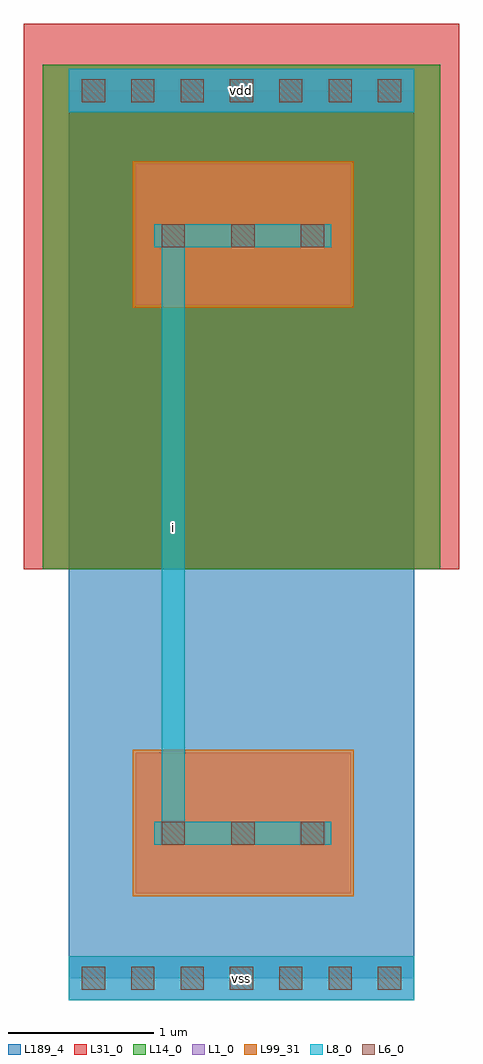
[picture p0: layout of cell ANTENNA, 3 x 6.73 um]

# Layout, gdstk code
import gdstk
lib = gdstk.Library(unit=1e-6, precision=1e-09)
def R(c, l, rs):  # rectangles x0, y0, x1, y1
    for r in rs: c.add(gdstk.rectangle(r[:2], r[2:], *l))
def A(c, l, x, y, w, h, nx, ny, dx, dy):  # array of equal rectangles
    R(c, l, [(x+i*dx, y+j*dy, x+i*dx+w, y+j*dy+h) for i in range(nx) for j in range(ny)])
L1_0 = (1, 0)
L6_0 = (6, 0)
L8_0 = (8, 0)
L14_0 = (14, 0)
L31_0 = (31, 0)
L63_0 = (63, 0)
L99_31 = (99, 31)
L189_4 = (189, 4)

antenna = lib.new_cell('ANTENNA')
R(antenna, L1_0, [(0,-0.15,2.38,0.15), (0.46,0.585,1.945,1.555), (0.46,4.645,1.945,5.615), (0,5.97,2.38,6.27)])
A(antenna, L6_0, 0.09, -0.08, 0.16, 0.16, 7, 2, 0.34, 6.12)
A(antenna, L6_0, 0.64, 0.92, 0.16, 0.16, 3, 2, 0.48, 4.12)
A(antenna, L8_0, 0.59, 0.92, 0.26, 0.16, 3, 2, 0.48, 4.12)
R(antenna, L8_0, [(0,-0.15,2.38,0.15), (0.64,0.92,1.76,1.08), (0.64,1.08,0.8,5.04), (0.64,5.04,1.76,5.2), (0,5.97,2.38,6.27)])
R(antenna, L14_0, [(-0.18,2.82,0.18,5.94), (0.18,2.82,2.2,5.94), (2.2,2.82,2.56,5.94), (-0.18,5.94,2.56,6.3)])
R(antenna, L31_0, [(-0.31,2.82,2.69,6.58)])
R(antenna, L99_31, [(0.44,0.565,1.965,1.575), (0.44,4.625,1.965,5.635)])
R(antenna, L189_4, [(0,0,2.38,6.12)])
antenna.add(gdstk.FlexPath([(0.59,0.41),(1.81,0.41)], 0, ends="flush", simple_path=True, layer=63, datatype=0))  # L63_0
antenna.add(gdstk.FlexPath([(0.59,1),(1.81,1)], 0, ends="flush", simple_path=True, layer=63, datatype=0))  # L63_0
antenna.add(gdstk.FlexPath([(0.59,1.56),(1.81,1.56)], 0, ends="flush", simple_path=True, layer=63, datatype=0))  # L63_0
antenna.add(gdstk.FlexPath([(0.59,2.15),(1.81,2.15)], 0, ends="flush", simple_path=True, layer=63, datatype=0))  # L63_0
antenna.add(gdstk.FlexPath([(0.59,2.63),(1.81,2.63)], 0, ends="flush", simple_path=True, layer=63, datatype=0))  # L63_0
antenna.add(gdstk.FlexPath([(0.59,3.11),(1.81,3.11)], 0, ends="flush", simple_path=True, layer=63, datatype=0))  # L63_0
antenna.add(gdstk.FlexPath([(0.59,4.08),(1.81,4.08)], 0, ends="flush", simple_path=True, layer=63, datatype=0))  # L63_0
antenna.add(gdstk.FlexPath([(0.59,4.44),(1.81,4.44)], 0, ends="flush", simple_path=True, layer=63, datatype=0))  # L63_0
antenna.add(gdstk.FlexPath([(0.59,4.78),(1.81,4.78)], 0, ends="flush", simple_path=True, layer=63, datatype=0))  # L63_0
antenna.add(gdstk.FlexPath([(0.59,5.12),(1.81,5.12)], 0, ends="flush", simple_path=True, layer=63, datatype=0))  # L63_0
antenna.add(gdstk.FlexPath([(0.59,5.71),(1.81,5.71)], 0, ends="flush", simple_path=True, layer=63, datatype=0))  # L63_0
antenna.add(gdstk.FlexPath([(0.72,0.07),(0.72,6.05)], 0, ends="flush", simple_path=True, layer=63, datatype=0))  # L63_0
antenna.add(gdstk.FlexPath([(1.2,0.07),(1.2,6.05)], 0, ends="flush", simple_path=True, layer=63, datatype=0))  # L63_0
antenna.add(gdstk.FlexPath([(1.68,0.07),(1.68,6.05)], 0, ends="flush", simple_path=True, layer=63, datatype=0))  # L63_0
antenna.add(gdstk.Label('vss', (1.19,0), layer=8, texttype=2))
antenna.add(gdstk.Label('vdd', (1.19,6.12), layer=8, texttype=2))
antenna.add(gdstk.Label('i', (0.72,3.11), layer=8, texttype=2))

lib.write_gds('ANTENNA.gds')
